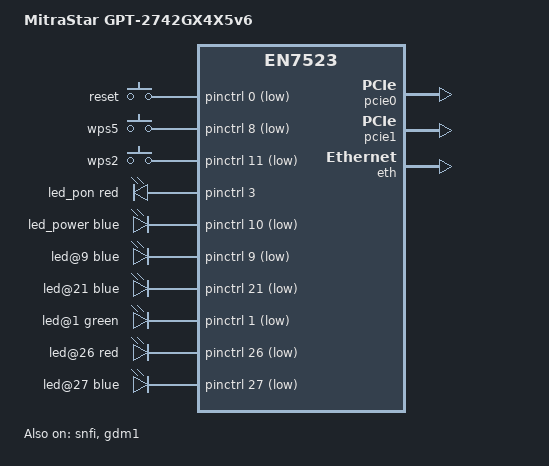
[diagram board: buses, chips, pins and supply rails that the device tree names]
// SPDX-License-Identifier: (GPL-2.0-only OR BSD-2-Clause)
/dts-v1/;

#include <dt-bindings/input/linux-event-codes.h>
#include <dt-bindings/leds/common.h>
#include "en7523.dtsi"

/ {
	model = "MitraStar GPT-2742GX4X5v6";
	compatible = "mitrastar,gpt-2742gx4x5v6", "airoha,en7523";

	aliases {
		serial0 = &uart1;
	};

	chosen {
		bootargs = "console=ttyS0,115200 earlycon";
		stdout-path = "serial0:115200n8";
		linux,usable-memory-range = <0x80200000 0x1fe00000>;
	};

	keys {
		compatible = "gpio-keys";

		reset {
			label = "reset";
			linux,code = <KEY_RESTART>;
			gpios = <&pinctrl 0 GPIO_ACTIVE_LOW>;
			debounce-interval = <60>;
		};

		wps5 {
			label = "wps5";
			linux,code = <KEY_WPS_BUTTON>;
			gpios = <&pinctrl 8 GPIO_ACTIVE_LOW>;
			debounce-interval = <60>;
		};

		wps2 {
			label = "wps2";
			linux,code = <KEY_WPS_BUTTON>;
			gpios = <&pinctrl 11 GPIO_ACTIVE_LOW>;
			debounce-interval = <60>;
		};
	};

	leds {
		compatible = "gpio-leds";

		// red:internet
		led_pon: led@3 {
			function = LED_FUNCTION_WAN_ONLINE;
			function-enumerator = <3>;
			color = <LED_COLOR_ID_RED>;
			gpios = <&pinctrl 3 GPIO_ACTIVE_HIGH>;
		};

		// blue:internet
		led_power: led@10 {
			function = LED_FUNCTION_WAN_ONLINE;
			function-enumerator = <10>;
			color = <LED_COLOR_ID_BLUE>;
			gpios = <&pinctrl 10 GPIO_ACTIVE_LOW>;
		};

		// blue:wlan-2g
		led@9 {
			function = LED_FUNCTION_WLAN_2GHZ;
			function-enumerator = <9>;
			color = <LED_COLOR_ID_BLUE>;
			gpios = <&pinctrl 9 GPIO_ACTIVE_LOW>;
		};

		// blue:wlan-5g
		led@21 {
			function = LED_FUNCTION_WLAN_5GHZ;
			function-enumerator = <21>;
			color = <LED_COLOR_ID_BLUE>;
			gpios = <&pinctrl 21 GPIO_ACTIVE_LOW>;
		};

		// green:fxs
		led@1 {
			function = LED_FUNCTION_ACTIVITY;
			function-enumerator = <1>;
			color = <LED_COLOR_ID_GREEN>;
			gpios = <&pinctrl 1 GPIO_ACTIVE_LOW>;
		};

		// red:fxs
		led@26 {
			function = LED_FUNCTION_ACTIVITY;
			function-enumerator = <26>;
			color = <LED_COLOR_ID_RED>;
			gpios = <&pinctrl 26 GPIO_ACTIVE_LOW>;
		};

		// blue:fxs
		led@27 {
			function = LED_FUNCTION_ACTIVITY;
			function-enumerator = <27>;
			color = <LED_COLOR_ID_BLUE>;
			gpios = <&pinctrl 27 GPIO_ACTIVE_LOW>;
		};
	};
};

&pcie0 {
	status = "okay";
};

&pcie1 {
	status = "okay";
};

&snfi {
	status = "okay";
};

&eth {
	status = "okay";
};

&gdm1 {
	status = "okay";
};

&spi_nand {
	partitions {
		compatible = "fixed-partitions";
		#address-cells = <1>;
		#size-cells = <1>;

		partition@0 {
			label = "u-boot";
			reg = <0x00000000 0x00100000>;
			read-only;
		};

		partition@100000 {
			label = "ubi";
			compatible = "linux,ubi";
			reg = <0x00100000 0x10000000>;
		};
	};
};
